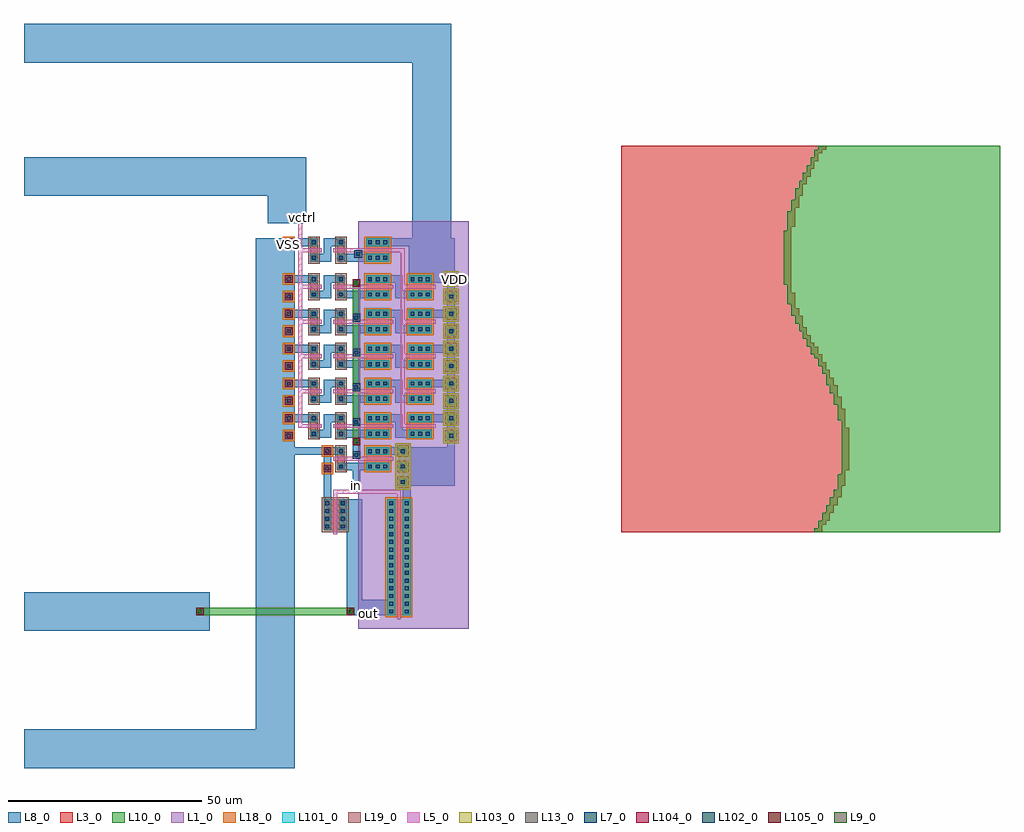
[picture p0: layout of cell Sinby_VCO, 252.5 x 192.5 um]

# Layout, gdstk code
from math import pi, radians
import gdstk
lib = gdstk.Library(unit=1e-6, precision=1e-09)
def R(c, l, rs):  # rectangles x0, y0, x1, y1
    for r in rs: c.add(gdstk.rectangle(r[:2], r[2:], *l))
def A(c, l, x, y, w, h, nx, ny, dx, dy):  # array of equal rectangles
    R(c, l, [(x+i*dx, y+j*dy, x+i*dx+w, y+j*dy+h) for i in range(nx) for j in range(ny)])
def P(c, l, *ps):  # polygons
    for p in ps: c.add(gdstk.Polygon(p, *l))
L1_0 = (1, 0)
L3_0 = (3, 0)
L5_0 = (5, 0)
L7_0 = (7, 0)
L8_0 = (8, 0)
L9_0 = (9, 0)
L10_0 = (10, 0)
L13_0 = (13, 0)
L18_0 = (18, 0)
L19_0 = (19, 0)
L101_0 = (101, 0)
L102_0 = (102, 0)
L103_0 = (103, 0)
L104_0 = (104, 0)
L105_0 = (105, 0)

dcont = lib.new_cell('dcont')
R(dcont, L3_0, [(-1,-1,1,1)])
R(dcont, L7_0, [(-0.5,-0.5,0.5,0.5)])
R(dcont, L8_0, [(-1,-1,1,1)])
R(dcont, L13_0, [(-0.5,-0.5,0.5,0.5)])
R(dcont, L101_0, [(-1,-1,1,1)])

dcont1 = lib.new_cell('dcont1')
R(dcont1, L3_0, [(-1,-1,1,1)])
R(dcont1, L7_0, [(-0.5,-0.5,0.5,0.5)])
R(dcont1, L8_0, [(-1,-1,1,1)])
R(dcont1, L13_0, [(-0.5,-0.5,0.5,0.5)])
R(dcont1, L101_0, [(-1,-1,1,1)])

psubcont = lib.new_cell('psubcont')
R(psubcont, L18_0, [(-1.5,-1.5,1.5,1.5)])
R(psubcont, L104_0, [(-1,-1,1,1)])
psubcont.add(gdstk.Reference(dcont1, (0,0)))

nsubcont = lib.new_cell('nsubcont')
R(nsubcont, L1_0, [(-2,-2,2,2)])
R(nsubcont, L19_0, [(-1.5,-1.5,1.5,1.5)])
R(nsubcont, L103_0, [(-2,-2,2,2)])
nsubcont.add(gdstk.Reference(dcont1, (0,0)))

pcont = lib.new_cell('pcont')
R(pcont, L5_0, [(-1,-1,1,1)])
R(pcont, L7_0, [(-0.5,-0.5,0.5,0.5)])
R(pcont, L8_0, [(-1,-1,1,1)])
R(pcont, L13_0, [(-0.5,-0.5,0.5,0.5)])
R(pcont, L102_0, [(-1,-1,1,1)])

via = lib.new_cell('Via')
R(via, L8_0, [(-1,-1,1,1)])
R(via, L9_0, [(-0.5,-0.5,0.5,0.5)])
R(via, L10_0, [(-1,-1,1,1)])
R(via, L13_0, [(-0.5,-0.5,0.5,0.5)])
R(via, L105_0, [(-1,-1,1,1)])

sinby_vco = lib.new_cell('Sinby_VCO')
R(sinby_vco, L1_0, [(-568,161,-539.5,266.5)])
A(sinby_vco, L3_0, -580.5, 212.5, 2, 2, 1, 5, 0, 9)
A(sinby_vco, L3_0, -573.5, 212.5, 2, 2, 1, 5, 0, 9)
A(sinby_vco, L3_0, -566, 212.5, 6, 2, 1, 5, 0, 9)
A(sinby_vco, L3_0, -555, 212.5, 6, 2, 1, 5, 0, 9)
R(sinby_vco, L3_0, [(-575,186.5,-573,194.5), (-573.5,204,-571.5,206), (-566,204,-560,206), (-580.5,258,-578.5,260), (-573.5,258,-571.5,260), (-566,258,-560,260)])
P(sinby_vco, L3_0, [(-558.5,164.5),(-558.5,194.5),(-556.5,194.5),(-556.5,164.5),(-557.5,164.5)],
  [(-500,186),(-500,286),(-447,286),(-447,285),(-448,285),(-448,284),(-449,284),(-449,282),(-450,282),(-450,280),(-451,280),(-451,278),(-452,278),(-452,276),(-453,276),(-453,273),(-454,273),(-454,270),(-455,270),(-455,265),(-456,265),(-456,248),(-455,248),(-455,244),(-454,244),(-454,242),(-453,242),(-453,239),(-452,239),(-452,237),(-451,237),(-451,235),(-450,235),(-450,234),(-449,234),(-449,232),(-448,232),(-448,230),(-447,230),(-447,228),(-446,228),(-446,226),(-445,226),(-445,224),(-444,224),(-444,221),(-443,221),(-443,218),(-442,218),(-442,213),(-441,213),(-441,202),(-442,202),(-442,198),(-443,198),(-443,195),(-444,195),(-444,193),(-445,193),(-445,191),(-446,191),(-446,189),(-447,189),(-447,188),(-448,188),(-448,186)])
A(sinby_vco, L8_0, -571.5, 210.5, 1, 2, 1, 5, 0, 9)
A(sinby_vco, L8_0, -570.5, 210.5, 4.5, 2, 1, 5, 0, 9)
A(sinby_vco, L8_0, -560, 214.5, 2.5, 2, 1, 5, 0, 9)
R(sinby_vco, L8_0, [(-557.5,198,-543,208), (-571.5,202,-570.5,204), (-570.5,202,-566,204), (-575,206,-573.5,208), (-560,206,-557.5,208), (-578.5,219.5,-577.5,221.5), (-578.5,237.5,-577.5,239.5), (-555,250.5,-543,262), (-578.5,256,-577.5,258), (-571.5,256,-570.5,258)])
P(sinby_vco, L10_0, [(-450,186),(-450,187),(-449,187),(-449,189),(-448,189),(-448,191),(-447,191),(-447,193),(-446,193),(-446,195),(-445,195),(-445,197),(-444,197),(-444,201),(-443,201),(-443,215),(-444,215),(-444,219),(-445,219),(-445,222),(-446,222),(-446,224),(-447,224),(-447,227),(-448,227),(-448,229),(-449,229),(-449,231),(-450,231),(-450,232),(-451,232),(-451,234),(-452,234),(-452,236),(-453,236),(-453,238),(-454,238),(-454,240),(-455,240),(-455,242),(-456,242),(-456,245),(-457,245),(-457,250),(-458,250),(-458,264),(-457,264),(-457,269),(-456,269),(-456,272),(-455,272),(-455,275),(-454,275),(-454,277),(-453,277),(-453,279),(-452,279),(-452,281),(-451,281),(-451,283),(-450,283),(-450,285),(-449,285),(-449,286),(-402,286),(-402,186)])
A(sinby_vco, L18_0, -566.5, 210, 7, 7, 1, 5, 0, 9)
A(sinby_vco, L18_0, -555.5, 210, 7, 7, 1, 5, 0, 9)
R(sinby_vco, L18_0, [(-561,164,-554,195), (-566.5,201.5,-559.5,208.5), (-566.5,255.5,-559.5,262.5)])
A(sinby_vco, L19_0, -581, 210, 3, 7, 1, 5, 0, 9)
A(sinby_vco, L19_0, -574, 210, 3, 7, 1, 5, 0, 9)
R(sinby_vco, L19_0, [(-577.5,186,-570.5,195), (-574,201.5,-571,208.5), (-581,255.5,-578,262.5), (-574,255.5,-571,262.5)])
sinby_vco.add(gdstk.FlexPath([(-555,247.5),(-557.5,247.5),(-557.5,252.5)], 2, ends="flush", simple_path=True, layer=8, datatype=0))  # L8_0
sinby_vco.add(gdstk.FlexPath([(-545,251.5),(-549,251.5)], 2, ends="flush", simple_path=True, layer=8, datatype=0))  # L8_0
sinby_vco.add(gdstk.FlexPath([(-560,261),(-544,261),(-544,256.5),(-544,253.5)], 2, ends="flush", simple_path=True, layer=8, datatype=0))  # L8_0
sinby_vco.add(gdstk.FlexPath([(-566,257),(-570.5,257)], 2, ends="flush", simple_path=True, layer=8, datatype=0))  # L8_0
sinby_vco.add(gdstk.FlexPath([(-573.5,261),(-576,261),(-576,257),(-577.5,257)], 2, ends="flush", simple_path=True, layer=8, datatype=0))  # L8_0
sinby_vco.add(gdstk.FlexPath([(-580.5,261),(-585,261)], 2, ends="flush", simple_path=True, layer=8, datatype=0))  # L8_0
sinby_vco.add(gdstk.FlexPath([(-580.5,251.5),(-585,251.5)], 2, ends="flush", simple_path=True, layer=8, datatype=0))  # L8_0
sinby_vco.add(gdstk.FlexPath([(-573.5,251.5),(-576,251.5),(-576,247.5),(-578.5,247.5)], 2, ends="flush", simple_path=True, layer=8, datatype=0))  # L8_0
sinby_vco.add(gdstk.FlexPath([(-545,242.5),(-549,242.5)], 2, ends="flush", simple_path=True, layer=8, datatype=0))  # L8_0
sinby_vco.add(gdstk.FlexPath([(-545,233.5),(-549,233.5)], 2, ends="flush", simple_path=True, layer=8, datatype=0))  # L8_0
sinby_vco.add(gdstk.FlexPath([(-555,238.5),(-557.5,238.5),(-557.5,243.5)], 2, ends="flush", simple_path=True, layer=8, datatype=0))  # L8_0
sinby_vco.add(gdstk.FlexPath([(-555,229.5),(-557.5,229.5),(-557.5,234.5)], 2, ends="flush", simple_path=True, layer=8, datatype=0))  # L8_0
sinby_vco.add(gdstk.FlexPath([(-545,224.5),(-549,224.5)], 2, ends="flush", simple_path=True, layer=8, datatype=0))  # L8_0
sinby_vco.add(gdstk.FlexPath([(-545,215.5),(-549,215.5)], 2, ends="flush", simple_path=True, layer=8, datatype=0))  # L8_0
sinby_vco.add(gdstk.FlexPath([(-544,251.5),(-544,200),(-544.5,199),(-555.5,199)], 2, ends="flush", simple_path=True, layer=8, datatype=0))  # L8_0
sinby_vco.add(gdstk.FlexPath([(-573.5,224.5),(-576,224.5),(-576,220.5),(-577.5,220.5)], 2, ends="flush", simple_path=True, layer=8, datatype=0))  # L8_0
sinby_vco.add(gdstk.FlexPath([(-580.5,224.5),(-585,224.5)], 2, ends="flush", simple_path=True, layer=8, datatype=0))  # L8_0
sinby_vco.add(gdstk.FlexPath([(-580.5,215.5),(-585,215.5)], 2, ends="flush", simple_path=True, layer=8, datatype=0))  # L8_0
sinby_vco.add(gdstk.FlexPath([(-573.5,215.5),(-576,215.5),(-576,211.5),(-578.5,211.5)], 2, ends="flush", simple_path=True, layer=8, datatype=0))  # L8_0
sinby_vco.add(gdstk.FlexPath([(-573.5,242.5),(-576,242.5),(-576,238.5),(-577.5,238.5)], 2, ends="flush", simple_path=True, layer=8, datatype=0))  # L8_0
sinby_vco.add(gdstk.FlexPath([(-580.5,242.5),(-585,242.5)], 2, ends="flush", simple_path=True, layer=8, datatype=0))  # L8_0
sinby_vco.add(gdstk.FlexPath([(-580.5,233.5),(-585,233.5)], 2, ends="flush", simple_path=True, layer=8, datatype=0))  # L8_0
sinby_vco.add(gdstk.FlexPath([(-573.5,233.5),(-576,233.5),(-576,229.5),(-578.5,229.5)], 2, ends="flush", simple_path=True, layer=8, datatype=0))  # L8_0
sinby_vco.add(gdstk.FlexPath([(-586,260),(-586,207),(-576,207),(-576,197.5),(-576,197.5),(-576,197.5)], 2, ends="flush", simple_path=True, layer=8, datatype=0))  # L8_0
sinby_vco.add(gdstk.FlexPath([(-555,220.5),(-557.5,220.5),(-557.5,225.5)], 2, ends="flush", simple_path=True, layer=8, datatype=0))  # L8_0
sinby_vco.add(gdstk.FlexPath([(-555,211.5),(-557.5,211.5),(-557.5,216.5)], 2, ends="flush", simple_path=True, layer=8, datatype=0))  # L8_0
sinby_vco.add(gdstk.FlexPath([(-568.5,202),(-568.5,198.5)], 2, ends="flush", simple_path=True, layer=8, datatype=0))  # L8_0
sinby_vco.add(gdstk.FlexPath([(-555.5,194.5),(-555.5,200)], 2, ends="flush", simple_path=True, layer=8, datatype=0))  # L8_0
sinby_vco.add(gdstk.FlexPath([(-576,197.5),(-576,194.5)], 2, ends="flush", simple_path=True, layer=8, datatype=0))  # L8_0
sinby_vco.add(gdstk.FlexPath([(-560.5,166.5),(-569,166.5),(-569,194.5)], 4, ends="flush", simple_path=True, layer=8, datatype=0))  # L8_0
sinby_vco.add(gdstk.FlexPath([(-568.5,246.5),(-568.5,242.5)], 2, ends="flush", simple_path=True, layer=8, datatype=0))  # L8_0
sinby_vco.add(gdstk.FlexPath([(-568.5,237.5),(-568.5,233.5)], 2, ends="flush", simple_path=True, layer=8, datatype=0))  # L8_0
sinby_vco.add(gdstk.FlexPath([(-568.5,228.5),(-568.5,224.5)], 2, ends="flush", simple_path=True, layer=8, datatype=0))  # L8_0
sinby_vco.add(gdstk.FlexPath([(-568.5,219.5),(-568.5,215.5)], 2, ends="flush", simple_path=True, layer=8, datatype=0))  # L8_0
sinby_vco.add(gdstk.FlexPath([(-568.5,208.5),(-568.5,207)], 2, ends="flush", simple_path=True, layer=8, datatype=0))  # L8_0
sinby_vco.add(gdstk.FlexPath([(-654.5,312.5),(-549,312.5),(-549,262)], 10, ends="flush", simple_path=True, layer=8, datatype=0))  # L8_0
sinby_vco.add(gdstk.FlexPath([(-589.5,262),(-589.5,130),(-654.5,130)], 10, ends="flush", simple_path=True, layer=8, datatype=0))  # L8_0
sinby_vco.add(gdstk.FlexPath([(-654.5,278),(-586.5,278),(-586.5,266)], 10, ends="flush", simple_path=True, layer=8, datatype=0))  # L8_0
sinby_vco.add(gdstk.FlexPath([(-654.5,165.5),(-606.5,165.5)], 10, ends="flush", simple_path=True, layer=8, datatype=0))  # L8_0
sinby_vco.add(gdstk.FlexPath([(-568.5,249.5),(-568.5,210.5),(-568.5,210.5)], 2, ends="flush", simple_path=True, layer=10, datatype=0))  # L10_0
sinby_vco.add(gdstk.FlexPath([(-571,165.5),(-610,165.5)], 2, ends="flush", simple_path=True, layer=10, datatype=0))  # L10_0
sinby_vco.add(gdstk.FlexPath([(-548,249.5),(-556,249.5)], 1, ends="flush", simple_path=True, layer=5, datatype=0))  # L5_0
sinby_vco.add(gdstk.FlexPath([(-559,259),(-567,259)], 1, ends="flush", simple_path=True, layer=5, datatype=0))  # L5_0
sinby_vco.add(gdstk.FlexPath([(-559,259),(-556.5,259),(-556.5,213)], 1, ends="flush", simple_path=True, layer=5, datatype=0))  # L5_0
sinby_vco.add(gdstk.FlexPath([(-567,259),(-574.5,259)], 1, ends="flush", simple_path=True, layer=5, datatype=0))  # L5_0
sinby_vco.add(gdstk.FlexPath([(-577.5,259),(-583,259),(-583,266.5)], 1, ends="flush", simple_path=True, layer=5, datatype=0))  # L5_0
sinby_vco.add(gdstk.FlexPath([(-583,258.5),(-583,249.5),(-577.5,249.5)], 1, ends="flush", simple_path=True, layer=5, datatype=0))  # L5_0
sinby_vco.add(gdstk.FlexPath([(-548,240.5),(-556,240.5)], 1, ends="flush", simple_path=True, layer=5, datatype=0))  # L5_0
sinby_vco.add(gdstk.FlexPath([(-548,231.5),(-556,231.5)], 1, ends="flush", simple_path=True, layer=5, datatype=0))  # L5_0
sinby_vco.add(gdstk.FlexPath([(-548,222.5),(-556,222.5)], 1, ends="flush", simple_path=True, layer=5, datatype=0))  # L5_0
sinby_vco.add(gdstk.FlexPath([(-548,213.5),(-556,213.5)], 1, ends="flush", simple_path=True, layer=5, datatype=0))  # L5_0
sinby_vco.add(gdstk.FlexPath([(-583,222),(-583,213.5),(-577.5,213.5)], 1, ends="flush", simple_path=True, layer=5, datatype=0))  # L5_0
sinby_vco.add(gdstk.FlexPath([(-583,240),(-583,231.5),(-577.5,231.5)], 1, ends="flush", simple_path=True, layer=5, datatype=0))  # L5_0
sinby_vco.add(gdstk.FlexPath([(-577.5,240.5),(-583,240.5),(-583,249)], 1, ends="flush", simple_path=True, layer=5, datatype=0))  # L5_0
sinby_vco.add(gdstk.FlexPath([(-577.5,222.5),(-583,222.5),(-583,231)], 1, ends="flush", simple_path=True, layer=5, datatype=0))  # L5_0
sinby_vco.add(gdstk.FlexPath([(-557.5,163.5),(-557.5,196.5),(-570.5,196.5)], 1, ends="flush", simple_path=True, layer=5, datatype=0))  # L5_0
sinby_vco.add(gdstk.FlexPath([(-570.5,196.5),(-574,196.5),(-574,185.5)], 1, ends="flush", simple_path=True, layer=5, datatype=0))  # L5_0
sinby_vco.add(gdstk.FlexPath([(-559,240.5),(-567,240.5)], 1, ends="flush", simple_path=True, layer=5, datatype=0))  # L5_0
sinby_vco.add(gdstk.FlexPath([(-570.5,240.5),(-574.5,240.5)], 1, ends="flush", simple_path=True, layer=5, datatype=0))  # L5_0
sinby_vco.add(gdstk.FlexPath([(-567,240.5),(-570.5,240.5)], 1, ends="flush", simple_path=True, layer=5, datatype=0))  # L5_0
sinby_vco.add(gdstk.FlexPath([(-567,231.5),(-570.5,231.5)], 1, ends="flush", simple_path=True, layer=5, datatype=0))  # L5_0
sinby_vco.add(gdstk.FlexPath([(-570.5,231.5),(-574.5,231.5)], 1, ends="flush", simple_path=True, layer=5, datatype=0))  # L5_0
sinby_vco.add(gdstk.FlexPath([(-559,231.5),(-567,231.5)], 1, ends="flush", simple_path=True, layer=5, datatype=0))  # L5_0
sinby_vco.add(gdstk.FlexPath([(-567,222.5),(-570.5,222.5)], 1, ends="flush", simple_path=True, layer=5, datatype=0))  # L5_0
sinby_vco.add(gdstk.FlexPath([(-570.5,222.5),(-574.5,222.5)], 1, ends="flush", simple_path=True, layer=5, datatype=0))  # L5_0
sinby_vco.add(gdstk.FlexPath([(-559,222.5),(-567,222.5)], 1, ends="flush", simple_path=True, layer=5, datatype=0))  # L5_0
sinby_vco.add(gdstk.FlexPath([(-567,213.5),(-570.5,213.5)], 1, ends="flush", simple_path=True, layer=5, datatype=0))  # L5_0
sinby_vco.add(gdstk.FlexPath([(-570.5,213.5),(-574.5,213.5)], 1, ends="flush", simple_path=True, layer=5, datatype=0))  # L5_0
sinby_vco.add(gdstk.FlexPath([(-559,213.5),(-567,213.5)], 1, ends="flush", simple_path=True, layer=5, datatype=0))  # L5_0
sinby_vco.add(gdstk.FlexPath([(-559,205),(-567,205)], 1, ends="flush", simple_path=True, layer=5, datatype=0))  # L5_0
sinby_vco.add(gdstk.FlexPath([(-570.5,205),(-574.5,205)], 1, ends="flush", simple_path=True, layer=5, datatype=0))  # L5_0
sinby_vco.add(gdstk.FlexPath([(-567,205),(-570.5,205)], 1, ends="flush", simple_path=True, layer=5, datatype=0))  # L5_0
sinby_vco.add(gdstk.FlexPath([(-559,249.5),(-567,249.5)], 1, ends="flush", simple_path=True, layer=5, datatype=0))  # L5_0
sinby_vco.add(gdstk.FlexPath([(-570.5,249.5),(-574.5,249.5)], 1, ends="flush", simple_path=True, layer=5, datatype=0))  # L5_0
sinby_vco.add(gdstk.FlexPath([(-567,249.5),(-570.5,249.5)], 1, ends="flush", simple_path=True, layer=5, datatype=0))  # L5_0
sinby_vco.add(gdstk.Reference(dcont, (-579.5,215.5), rotation=3*pi/2))
sinby_vco.add(gdstk.Reference(psubcont, (-586,215.5), rotation=3*pi/2))
sinby_vco.add(gdstk.Reference(dcont, (-572.5,215.5), rotation=3*pi/2))
sinby_vco.add(gdstk.Reference(dcont, (-550,215.5), rotation=3*pi/2))
sinby_vco.add(gdstk.Reference(dcont, (-552,215.5), rotation=3*pi/2))
sinby_vco.add(gdstk.Reference(dcont, (-554,215.5), rotation=3*pi/2))
sinby_vco.add(gdstk.Reference(dcont, (-565,215.5), rotation=3*pi/2))
sinby_vco.add(gdstk.Reference(dcont, (-563,215.5), rotation=3*pi/2))
sinby_vco.add(gdstk.Reference(dcont, (-561,215.5), rotation=3*pi/2))
sinby_vco.add(gdstk.Reference(nsubcont, (-544,215.5), rotation=3*pi/2))
sinby_vco.add(gdstk.Reference(dcont, (-576,193.5), rotation=3*pi/2))
sinby_vco.add(gdstk.Reference(dcont, (-576,187.5), rotation=3*pi/2))
sinby_vco.add(gdstk.Reference(dcont, (-576,189.5), rotation=3*pi/2))
sinby_vco.add(gdstk.Reference(psubcont, (-576,207), rotation=3*pi/2))
sinby_vco.add(gdstk.Reference(psubcont, (-576,202.5), rotation=3*pi/2))
sinby_vco.add(gdstk.Reference(dcont, (-576,191.5), rotation=3*pi/2))
sinby_vco.add(gdstk.Reference(dcont, (-552,224.5), rotation=3*pi/2))
sinby_vco.add(gdstk.Reference(dcont, (-552,220.5), rotation=3*pi/2))
sinby_vco.add(gdstk.Reference(dcont, (-550,220.5), rotation=3*pi/2))
sinby_vco.add(gdstk.Reference(dcont, (-561,220.5), rotation=3*pi/2))
sinby_vco.add(gdstk.Reference(dcont, (-563,242.5), rotation=3*pi/2))
sinby_vco.add(gdstk.Reference(dcont, (-563,224.5), rotation=3*pi/2))
sinby_vco.add(gdstk.Reference(dcont, (-561,224.5), rotation=3*pi/2))
sinby_vco.add(gdstk.Reference(nsubcont, (-544,224.5), rotation=3*pi/2))
sinby_vco.add(gdstk.Reference(dcont, (-561,238.5), rotation=3*pi/2))
sinby_vco.add(gdstk.Reference(dcont, (-563,238.5), rotation=3*pi/2))
sinby_vco.add(gdstk.Reference(dcont, (-572.5,242.5), rotation=3*pi/2))
sinby_vco.add(gdstk.Reference(dcont, (-572.5,220.5), rotation=3*pi/2))
sinby_vco.add(gdstk.Reference(pcont, (-568.5,223.5), rotation=3*pi/2))
sinby_vco.add(gdstk.Reference(dcont, (-572.5,224.5), rotation=3*pi/2))
sinby_vco.add(gdstk.Reference(dcont, (-572.5,238.5), rotation=3*pi/2))
sinby_vco.add(gdstk.Reference(dcont, (-572.5,229.5), rotation=3*pi/2))
sinby_vco.add(gdstk.Reference(pcont, (-568.5,232.5), rotation=3*pi/2))
sinby_vco.add(gdstk.Reference(dcont, (-572.5,233.5), rotation=3*pi/2))
sinby_vco.add(gdstk.Reference(dcont, (-572.5,247.5), rotation=3*pi/2))
sinby_vco.add(gdstk.Reference(dcont, (-572.5,251.5), rotation=3*pi/2))
sinby_vco.add(gdstk.Reference(pcont, (-568.5,250.5), rotation=3*pi/2))
sinby_vco.add(gdstk.Reference(dcont, (-572.5,257), rotation=3*pi/2))
sinby_vco.add(gdstk.Reference(dcont, (-572.5,261), rotation=3*pi/2))
sinby_vco.add(gdstk.Reference(pcont, (-568.5,241.5), rotation=3*pi/2))
sinby_vco.add(gdstk.Reference(pcont, (-568,258), rotation=3*pi/2))
sinby_vco.add(gdstk.Reference(via, (-568.5,250.5), rotation=3*pi/2))
sinby_vco.add(gdstk.Reference(dcont, (-565,233.5), rotation=3*pi/2))
sinby_vco.add(gdstk.Reference(dcont, (-565,220.5), rotation=3*pi/2))
sinby_vco.add(gdstk.Reference(dcont, (-565,247.5), rotation=3*pi/2))
sinby_vco.add(gdstk.Reference(dcont, (-565,251.5), rotation=3*pi/2))
sinby_vco.add(gdstk.Reference(dcont, (-565,257), rotation=3*pi/2))
sinby_vco.add(gdstk.Reference(dcont, (-565,261), rotation=3*pi/2))
sinby_vco.add(gdstk.Reference(dcont, (-561,229.5), rotation=3*pi/2))
sinby_vco.add(gdstk.Reference(nsubcont, (-544,238), rotation=3*pi/2))
sinby_vco.add(gdstk.Reference(dcont, (-561,251.5), rotation=3*pi/2))
sinby_vco.add(gdstk.Reference(dcont, (-563,233.5), rotation=3*pi/2))
sinby_vco.add(gdstk.Reference(dcont, (-561,233.5), rotation=3*pi/2))
sinby_vco.add(gdstk.Reference(dcont, (-563,251.5), rotation=3*pi/2))
sinby_vco.add(gdstk.Reference(dcont, (-563,247.5), rotation=3*pi/2))
sinby_vco.add(gdstk.Reference(dcont, (-561,247.5), rotation=3*pi/2))
sinby_vco.add(gdstk.Reference(dcont, (-550,251.5), rotation=3*pi/2))
sinby_vco.add(gdstk.Reference(dcont, (-554,247.5), rotation=3*pi/2))
sinby_vco.add(gdstk.Reference(dcont, (-554,251.5), rotation=3*pi/2))
sinby_vco.add(gdstk.Reference(dcont, (-552,251.5), rotation=3*pi/2))
sinby_vco.add(gdstk.Reference(dcont, (-552,247.5), rotation=3*pi/2))
sinby_vco.add(gdstk.Reference(dcont, (-550,247.5), rotation=3*pi/2))
sinby_vco.add(gdstk.Reference(nsubcont, (-544,247), rotation=3*pi/2))
sinby_vco.add(gdstk.Reference(dcont, (-561,261), rotation=3*pi/2))
sinby_vco.add(gdstk.Reference(dcont, (-561,242.5), rotation=3*pi/2))
sinby_vco.add(gdstk.Reference(dcont, (-563,220.5), rotation=3*pi/2))
sinby_vco.add(gdstk.Reference(dcont, (-563,261), rotation=3*pi/2))
sinby_vco.add(gdstk.Reference(dcont, (-563,257), rotation=3*pi/2))
sinby_vco.add(gdstk.Reference(dcont, (-561,257), rotation=3*pi/2))
sinby_vco.add(gdstk.Reference(dcont, (-550,242.5), rotation=3*pi/2))
sinby_vco.add(gdstk.Reference(dcont, (-565,224.5), rotation=3*pi/2))
sinby_vco.add(gdstk.Reference(dcont, (-565,242.5), rotation=3*pi/2))
sinby_vco.add(gdstk.Reference(dcont, (-554,238.5), rotation=3*pi/2))
sinby_vco.add(gdstk.Reference(dcont, (-554,242.5), rotation=3*pi/2))
sinby_vco.add(gdstk.Reference(dcont, (-552,242.5), rotation=3*pi/2))
sinby_vco.add(gdstk.Reference(dcont, (-552,238.5), rotation=3*pi/2))
sinby_vco.add(gdstk.Reference(dcont, (-550,238.5), rotation=3*pi/2))
sinby_vco.add(gdstk.Reference(dcont, (-550,233.5), rotation=3*pi/2))
sinby_vco.add(gdstk.Reference(dcont, (-552,233.5), rotation=3*pi/2))
sinby_vco.add(gdstk.Reference(dcont, (-552,229.5), rotation=3*pi/2))
sinby_vco.add(gdstk.Reference(dcont, (-565,238.5), rotation=3*pi/2))
sinby_vco.add(gdstk.Reference(dcont, (-565,229.5), rotation=3*pi/2))
sinby_vco.add(gdstk.Reference(nsubcont, (-544,233.5), rotation=3*pi/2))
sinby_vco.add(gdstk.Reference(nsubcont, (-544,242.5), rotation=3*pi/2))
sinby_vco.add(gdstk.Reference(dcont, (-563,229.5), rotation=3*pi/2))
sinby_vco.add(gdstk.Reference(nsubcont, (-544,251.5), rotation=3*pi/2))
sinby_vco.add(gdstk.Reference(nsubcont, (-544,220), rotation=3*pi/2))
sinby_vco.add(gdstk.Reference(nsubcont, (-544,229), rotation=3*pi/2))
sinby_vco.add(gdstk.Reference(dcont, (-550,229.5), rotation=3*pi/2))
sinby_vco.add(gdstk.Reference(dcont, (-554,233.5), rotation=3*pi/2))
sinby_vco.add(gdstk.Reference(dcont, (-554,229.5), rotation=3*pi/2))
sinby_vco.add(gdstk.Reference(dcont, (-550,224.5), rotation=3*pi/2))
sinby_vco.add(gdstk.Reference(dcont, (-554,220.5), rotation=3*pi/2))
sinby_vco.add(gdstk.Reference(dcont, (-554,224.5), rotation=3*pi/2))
sinby_vco.add(gdstk.Reference(psubcont, (-586,251.5), rotation=3*pi/2))
sinby_vco.add(gdstk.Reference(psubcont, (-586,233.5), rotation=3*pi/2))
sinby_vco.add(gdstk.Reference(psubcont, (-586,242.5), rotation=3*pi/2))
sinby_vco.add(gdstk.Reference(psubcont, (-586,224.5), rotation=3*pi/2))
sinby_vco.add(gdstk.Reference(psubcont, (-586,247), rotation=3*pi/2))
sinby_vco.add(gdstk.Reference(psubcont, (-586,261), rotation=3*pi/2))
sinby_vco.add(gdstk.Reference(dcont, (-579.5,261), rotation=3*pi/2))
sinby_vco.add(gdstk.Reference(psubcont, (-586,220), rotation=3*pi/2))
sinby_vco.add(gdstk.Reference(dcont, (-579.5,224.5), rotation=3*pi/2))
sinby_vco.add(gdstk.Reference(dcont, (-579.5,220.5), rotation=3*pi/2))
sinby_vco.add(gdstk.Reference(dcont, (-579.5,233.5), rotation=3*pi/2))
sinby_vco.add(gdstk.Reference(dcont, (-579.5,229.5), rotation=3*pi/2))
sinby_vco.add(gdstk.Reference(dcont, (-579.5,242.5), rotation=3*pi/2))
sinby_vco.add(gdstk.Reference(dcont, (-579.5,238.5), rotation=3*pi/2))
sinby_vco.add(gdstk.Reference(dcont, (-579.5,247.5), rotation=3*pi/2))
sinby_vco.add(gdstk.Reference(dcont, (-579.5,251.5), rotation=3*pi/2))
sinby_vco.add(gdstk.Reference(dcont, (-579.5,257), rotation=3*pi/2))
sinby_vco.add(gdstk.Reference(pcont, (-583,267), rotation=3*pi/2))
sinby_vco.add(gdstk.Reference(psubcont, (-586,238), rotation=3*pi/2))
sinby_vco.add(gdstk.Reference(psubcont, (-586,229), rotation=3*pi/2))
sinby_vco.add(gdstk.Reference(via, (-609,165.5)))
sinby_vco.add(gdstk.Reference(psubcont, (-586,211), rotation=3*pi/2))
sinby_vco.add(gdstk.Reference(dcont, (-579.5,211.5), rotation=3*pi/2))
sinby_vco.add(gdstk.Reference(dcont, (-552,211.5), rotation=3*pi/2))
sinby_vco.add(gdstk.Reference(pcont, (-568.5,214.5), rotation=3*pi/2))
sinby_vco.add(gdstk.Reference(dcont, (-559.5,175.5), rotation=3*pi/2))
sinby_vco.add(gdstk.Reference(dcont, (-555.5,173.5), rotation=3*pi/2))
sinby_vco.add(gdstk.Reference(dcont, (-559.5,173.5), rotation=3*pi/2))
sinby_vco.add(gdstk.Reference(dcont, (-555.5,171.5), rotation=3*pi/2))
sinby_vco.add(gdstk.Reference(dcont, (-559.5,171.5), rotation=3*pi/2))
sinby_vco.add(gdstk.Reference(dcont, (-555.5,169.5), rotation=3*pi/2))
sinby_vco.add(gdstk.Reference(dcont, (-559.5,169.5), rotation=3*pi/2))
sinby_vco.add(gdstk.Reference(dcont, (-555.5,167.5), rotation=3*pi/2))
sinby_vco.add(gdstk.Reference(dcont, (-559.5,167.5), rotation=3*pi/2))
sinby_vco.add(gdstk.Reference(dcont, (-555.5,165.5), rotation=3*pi/2))
sinby_vco.add(gdstk.Reference(dcont, (-559.5,165.5), rotation=3*pi/2))
sinby_vco.add(gdstk.Reference(dcont, (-559.5,193.5), rotation=3*pi/2))
sinby_vco.add(gdstk.Reference(dcont, (-561,203), rotation=3*pi/2))
sinby_vco.add(gdstk.Reference(dcont, (-550,211.5), rotation=3*pi/2))
sinby_vco.add(gdstk.Reference(dcont, (-561,207), rotation=3*pi/2))
sinby_vco.add(gdstk.Reference(dcont, (-563,207), rotation=3*pi/2))
sinby_vco.add(gdstk.Reference(dcont, (-563,203), rotation=3*pi/2))
sinby_vco.add(gdstk.Reference(nsubcont, (-556.5,203), rotation=3*pi/2))
sinby_vco.add(gdstk.Reference(nsubcont, (-556.5,207), rotation=3*pi/2))
sinby_vco.add(gdstk.Reference(dcont, (-559.5,187.5), rotation=3*pi/2))
sinby_vco.add(gdstk.Reference(dcont, (-559.5,191.5), rotation=3*pi/2))
sinby_vco.add(gdstk.Reference(dcont, (-554,211.5), rotation=3*pi/2))
sinby_vco.add(gdstk.Reference(dcont, (-565,211.5), rotation=3*pi/2))
sinby_vco.add(gdstk.Reference(dcont, (-555.5,183.5), rotation=3*pi/2))
sinby_vco.add(gdstk.Reference(dcont, (-555.5,185.5), rotation=3*pi/2))
sinby_vco.add(gdstk.Reference(dcont, (-555.5,187.5), rotation=3*pi/2))
sinby_vco.add(gdstk.Reference(dcont, (-559.5,185.5), rotation=3*pi/2))
sinby_vco.add(gdstk.Reference(dcont, (-559.5,189.5), rotation=3*pi/2))
sinby_vco.add(gdstk.Reference(dcont, (-555.5,189.5), rotation=3*pi/2))
sinby_vco.add(gdstk.Reference(dcont, (-555.5,191.5), rotation=3*pi/2))
sinby_vco.add(gdstk.Reference(dcont, (-559.5,183.5), rotation=3*pi/2))
sinby_vco.add(gdstk.Reference(dcont, (-555.5,193.5), rotation=3*pi/2))
sinby_vco.add(gdstk.Reference(nsubcont, (-556.5,199), rotation=3*pi/2))
sinby_vco.add(gdstk.Reference(dcont, (-555.5,181.5), rotation=3*pi/2))
sinby_vco.add(gdstk.Reference(dcont, (-572.5,211.5), rotation=3*pi/2))
sinby_vco.add(gdstk.Reference(nsubcont, (-544,211), rotation=3*pi/2))
sinby_vco.add(gdstk.Reference(dcont, (-572,191.5), rotation=3*pi/2))
sinby_vco.add(gdstk.Reference(dcont, (-559.5,181.5), rotation=3*pi/2))
sinby_vco.add(gdstk.Reference(dcont, (-563,211.5), rotation=3*pi/2))
sinby_vco.add(gdstk.Reference(dcont, (-572,193.5), rotation=3*pi/2))
sinby_vco.add(gdstk.Reference(dcont, (-572,187.5), rotation=3*pi/2))
sinby_vco.add(gdstk.Reference(dcont, (-555.5,179.5), rotation=3*pi/2))
sinby_vco.add(gdstk.Reference(dcont, (-565,203), rotation=3*pi/2))
sinby_vco.add(gdstk.Reference(dcont, (-572,189.5), rotation=3*pi/2))
sinby_vco.add(gdstk.Reference(dcont, (-572.5,203), rotation=3*pi/2))
sinby_vco.add(gdstk.Reference(via, (-568.5,209.5), rotation=3*pi/2))
sinby_vco.add(gdstk.Reference(dcont, (-561,211.5), rotation=3*pi/2))
sinby_vco.add(gdstk.Reference(dcont, (-565,207), rotation=3*pi/2))
sinby_vco.add(gdstk.Reference(dcont, (-559.5,177.5), rotation=3*pi/2))
sinby_vco.add(gdstk.Reference(dcont, (-555.5,175.5), rotation=3*pi/2))
sinby_vco.add(gdstk.Reference(pcont, (-568.5,197.5), rotation=3*pi/2))
sinby_vco.add(gdstk.Reference(dcont, (-572.5,207), rotation=3*pi/2))
sinby_vco.add(gdstk.Reference(dcont, (-559.5,179.5), rotation=3*pi/2))
sinby_vco.add(gdstk.Reference(pcont, (-568.5,206), rotation=3*pi/2))
sinby_vco.add(gdstk.Reference(via, (-570,165.5)))
sinby_vco.add(gdstk.Reference(dcont, (-555.5,177.5), rotation=3*pi/2))
sinby_vco.add(gdstk.Label('VDD', (-543,251.5), layer=8, texttype=0))
sinby_vco.add(gdstk.Label('VSS', (-586,260.5), layer=8, texttype=0))
sinby_vco.add(gdstk.Label('vctrl', (-582.5,267.5), layer=8, texttype=0))
sinby_vco.add(gdstk.Label('in', (-568.5,198), layer=8, texttype=0))
sinby_vco.add(gdstk.Label('out', (-565.5,165), layer=8, texttype=0))

lib.write_gds('Sinby_VCO.gds')
